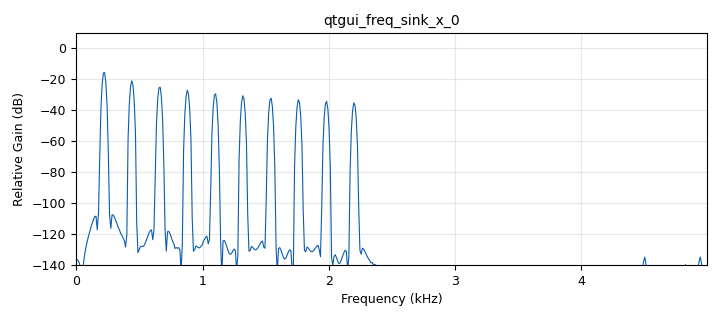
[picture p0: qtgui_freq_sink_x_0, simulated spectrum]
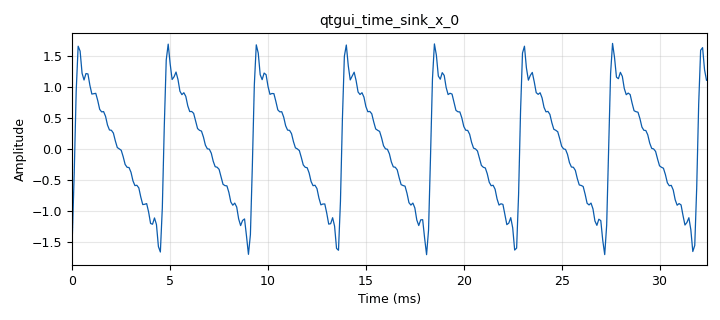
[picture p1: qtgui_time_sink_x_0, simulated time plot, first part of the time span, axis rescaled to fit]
<?xml version='1.0' encoding='utf-8'?>
<?grc format='1' created='3.7.10'?>
<flow_graph>
<block>
<key>options</key>
<param><key>id</key><value>top_block</value></param>
<param><key>generate_options</key><value>qt_gui</value></param>
</block>
<block>
<key>variable</key>
<param><key>id</key><value>amp</value></param>
<param><key>value</key><value>1</value></param>
</block>
<block>
<key>variable</key>
<param><key>id</key><value>freq</value></param>
<param><key>value</key><value>220</value></param>
</block>
<block>
<key>variable</key>
<param><key>id</key><value>offset</value></param>
<param><key>value</key><value>1*samp_rate</value></param>
</block>
<block>
<key>variable</key>
<param><key>id</key><value>samp_rate</value></param>
<param><key>value</key><value>10e3</value></param>
</block>
<block>
<key>analog_sig_source_x</key>
<param><key>id</key><value>analog_sig_source_x_0</value></param>
<param><key>amp</key><value>-amp</value></param>
<param><key>freq</key><value>freq</value></param>
<param><key>offset</key><value>0</value></param>
<param><key>type</key><value>float</value></param>
<param><key>samp_rate</key><value>samp_rate</value></param>
<param><key>waveform</key><value>analog.GR_SIN_WAVE</value></param>
</block>
<block>
<key>analog_sig_source_x</key>
<param><key>id</key><value>analog_sig_source_x_0_0</value></param>
<param><key>amp</key><value>amp/2.0</value></param>
<param><key>freq</key><value>2*freq</value></param>
<param><key>offset</key><value>0</value></param>
<param><key>type</key><value>float</value></param>
<param><key>samp_rate</key><value>samp_rate</value></param>
<param><key>waveform</key><value>analog.GR_SIN_WAVE</value></param>
</block>
<block>
<key>analog_sig_source_x</key>
<param><key>id</key><value>analog_sig_source_x_0_0_0</value></param>
<param><key>amp</key><value>amp/4.0</value></param>
<param><key>freq</key><value>4*freq</value></param>
<param><key>offset</key><value>0</value></param>
<param><key>type</key><value>float</value></param>
<param><key>samp_rate</key><value>samp_rate</value></param>
<param><key>waveform</key><value>analog.GR_SIN_WAVE</value></param>
</block>
<block>
<key>analog_sig_source_x</key>
<param><key>id</key><value>analog_sig_source_x_0_0_0_0</value></param>
<param><key>amp</key><value>-amp/7.0</value></param>
<param><key>freq</key><value>7*freq</value></param>
<param><key>offset</key><value>0</value></param>
<param><key>type</key><value>float</value></param>
<param><key>samp_rate</key><value>samp_rate</value></param>
<param><key>waveform</key><value>analog.GR_SIN_WAVE</value></param>
</block>
<block>
<key>analog_sig_source_x</key>
<param><key>id</key><value>analog_sig_source_x_0_0_1</value></param>
<param><key>amp</key><value>amp/6.0</value></param>
<param><key>freq</key><value>freq*6</value></param>
<param><key>offset</key><value>0</value></param>
<param><key>type</key><value>float</value></param>
<param><key>samp_rate</key><value>samp_rate</value></param>
<param><key>waveform</key><value>analog.GR_SIN_WAVE</value></param>
</block>
<block>
<key>analog_sig_source_x</key>
<param><key>id</key><value>analog_sig_source_x_0_0_1_0</value></param>
<param><key>amp</key><value>-amp/9.0</value></param>
<param><key>freq</key><value>freq*9</value></param>
<param><key>offset</key><value>0</value></param>
<param><key>type</key><value>float</value></param>
<param><key>samp_rate</key><value>samp_rate</value></param>
<param><key>waveform</key><value>analog.GR_SIN_WAVE</value></param>
</block>
<block>
<key>analog_sig_source_x</key>
<param><key>id</key><value>analog_sig_source_x_0_0_1_0_0</value></param>
<param><key>amp</key><value>amp/10.0</value></param>
<param><key>freq</key><value>freq*10</value></param>
<param><key>offset</key><value>0</value></param>
<param><key>type</key><value>float</value></param>
<param><key>samp_rate</key><value>samp_rate</value></param>
<param><key>waveform</key><value>analog.GR_SIN_WAVE</value></param>
</block>
<block>
<key>analog_sig_source_x</key>
<param><key>id</key><value>analog_sig_source_x_0_1</value></param>
<param><key>amp</key><value>-amp/3.0</value></param>
<param><key>freq</key><value>3*freq</value></param>
<param><key>offset</key><value>0</value></param>
<param><key>type</key><value>float</value></param>
<param><key>samp_rate</key><value>samp_rate</value></param>
<param><key>waveform</key><value>analog.GR_SIN_WAVE</value></param>
</block>
<block>
<key>analog_sig_source_x</key>
<param><key>id</key><value>analog_sig_source_x_0_2</value></param>
<param><key>amp</key><value>-amp/5.0</value></param>
<param><key>freq</key><value>freq*5</value></param>
<param><key>offset</key><value>0</value></param>
<param><key>type</key><value>float</value></param>
<param><key>samp_rate</key><value>samp_rate</value></param>
<param><key>waveform</key><value>analog.GR_SIN_WAVE</value></param>
</block>
<block>
<key>analog_sig_source_x</key>
<param><key>id</key><value>analog_sig_source_x_0_2_0</value></param>
<param><key>amp</key><value>amp/8.0</value></param>
<param><key>freq</key><value>freq*8</value></param>
<param><key>offset</key><value>0</value></param>
<param><key>type</key><value>float</value></param>
<param><key>samp_rate</key><value>samp_rate</value></param>
<param><key>waveform</key><value>analog.GR_SIN_WAVE</value></param>
</block>
<block>
<key>blocks_add_xx</key>
<param><key>id</key><value>blocks_add_xx_0</value></param>
<param><key>type</key><value>float</value></param>
<param><key>num_inputs</key><value>10</value></param>
</block>
<block>
<key>blocks_delay</key>
<param><key>id</key><value>blocks_delay_0</value></param>
<param><key>delay</key><value>0</value></param>
<param><key>type</key><value>float</value></param>
</block>
<block>
<key>blocks_delay</key>
<param><key>id</key><value>blocks_delay_0_0</value></param>
<param><key>delay</key><value>int(offset)</value></param>
<param><key>type</key><value>float</value></param>
</block>
<block>
<key>blocks_delay</key>
<param><key>id</key><value>blocks_delay_0_0_0</value></param>
<param><key>delay</key><value>int(offset*5)</value></param>
<param><key>type</key><value>float</value></param>
</block>
<block>
<key>blocks_delay</key>
<param><key>id</key><value>blocks_delay_0_0_1</value></param>
<param><key>delay</key><value>int(offset*4)</value></param>
<param><key>type</key><value>float</value></param>
</block>
<block>
<key>blocks_delay</key>
<param><key>id</key><value>blocks_delay_0_0_2</value></param>
<param><key>delay</key><value>int(offset*3)</value></param>
<param><key>type</key><value>float</value></param>
</block>
<block>
<key>blocks_delay</key>
<param><key>id</key><value>blocks_delay_0_1</value></param>
<param><key>delay</key><value>int(offset*7)</value></param>
<param><key>type</key><value>float</value></param>
</block>
<block>
<key>blocks_delay</key>
<param><key>id</key><value>blocks_delay_0_1_0</value></param>
<param><key>delay</key><value>int(offset*9)</value></param>
<param><key>type</key><value>float</value></param>
</block>
<block>
<key>blocks_delay</key>
<param><key>id</key><value>blocks_delay_0_2</value></param>
<param><key>delay</key><value>int(offset*6)</value></param>
<param><key>type</key><value>float</value></param>
</block>
<block>
<key>blocks_delay</key>
<param><key>id</key><value>blocks_delay_0_2_0</value></param>
<param><key>delay</key><value>int(offset*8)</value></param>
<param><key>type</key><value>float</value></param>
</block>
<block>
<key>blocks_delay</key>
<param><key>id</key><value>blocks_delay_0_3</value></param>
<param><key>delay</key><value>int(offset*2)</value></param>
<param><key>type</key><value>float</value></param>
</block>
<block>
<key>blocks_throttle</key>
<param><key>id</key><value>blocks_throttle_0</value></param>
<param><key>samples_per_second</key><value>samp_rate</value></param>
<param><key>type</key><value>float</value></param>
</block>
<block>
<key>qtgui_freq_sink_x</key>
<param><key>id</key><value>qtgui_freq_sink_x_0</value></param>
<param><key>bw</key><value>samp_rate</value></param>
<param><key>fc</key><value>0</value></param>
<param><key>fftsize</key><value>1024</value></param>
<param><key>showports</key><value>True</value></param>
<param><key>freqhalf</key><value>False</value></param>
<param><key>type</key><value>float</value></param>
<param><key>wintype</key><value>firdes.WIN_BLACKMAN_hARRIS</value></param>
</block>
<block>
<key>qtgui_time_sink_x</key>
<param><key>id</key><value>qtgui_time_sink_x_0</value></param>
<param><key>ctrlpanel</key><value>True</value></param>
<param><key>color1</key><value>"blue"</value></param>
<param><key>label1</key><value></value></param>
<param><key>size</key><value>1024</value></param>
<param><key>srate</key><value>samp_rate</value></param>
<param><key>type</key><value>float</value></param>
</block>
<connection><source_block_id>analog_sig_source_x_0</source_block_id><sink_block_id>blocks_delay_0</sink_block_id><source_key>0</source_key><sink_key>0</sink_key></connection>
<connection><source_block_id>analog_sig_source_x_0_0</source_block_id><sink_block_id>blocks_delay_0_0</sink_block_id><source_key>0</source_key><sink_key>0</sink_key></connection>
<connection><source_block_id>analog_sig_source_x_0_0_0</source_block_id><sink_block_id>blocks_delay_0_0_2</sink_block_id><source_key>0</source_key><sink_key>0</sink_key></connection>
<connection><source_block_id>analog_sig_source_x_0_0_0_0</source_block_id><sink_block_id>blocks_delay_0_2</sink_block_id><source_key>0</source_key><sink_key>0</sink_key></connection>
<connection><source_block_id>analog_sig_source_x_0_0_1</source_block_id><sink_block_id>blocks_delay_0_0_0</sink_block_id><source_key>0</source_key><sink_key>0</sink_key></connection>
<connection><source_block_id>analog_sig_source_x_0_0_1_0</source_block_id><sink_block_id>blocks_delay_0_2_0</sink_block_id><source_key>0</source_key><sink_key>0</sink_key></connection>
<connection><source_block_id>analog_sig_source_x_0_0_1_0_0</source_block_id><sink_block_id>blocks_delay_0_1_0</sink_block_id><source_key>0</source_key><sink_key>0</sink_key></connection>
<connection><source_block_id>analog_sig_source_x_0_1</source_block_id><sink_block_id>blocks_delay_0_3</sink_block_id><source_key>0</source_key><sink_key>0</sink_key></connection>
<connection><source_block_id>analog_sig_source_x_0_2</source_block_id><sink_block_id>blocks_delay_0_0_1</sink_block_id><source_key>0</source_key><sink_key>0</sink_key></connection>
<connection><source_block_id>analog_sig_source_x_0_2_0</source_block_id><sink_block_id>blocks_delay_0_1</sink_block_id><source_key>0</source_key><sink_key>0</sink_key></connection>
<connection><source_block_id>blocks_add_xx_0</source_block_id><sink_block_id>blocks_throttle_0</sink_block_id><source_key>0</source_key><sink_key>0</sink_key></connection>
<connection><source_block_id>blocks_delay_0</source_block_id><sink_block_id>blocks_add_xx_0</sink_block_id><source_key>0</source_key><sink_key>0</sink_key></connection>
<connection><source_block_id>blocks_delay_0_0</source_block_id><sink_block_id>blocks_add_xx_0</sink_block_id><source_key>0</source_key><sink_key>1</sink_key></connection>
<connection><source_block_id>blocks_delay_0_0_0</source_block_id><sink_block_id>blocks_add_xx_0</sink_block_id><source_key>0</source_key><sink_key>5</sink_key></connection>
<connection><source_block_id>blocks_delay_0_0_1</source_block_id><sink_block_id>blocks_add_xx_0</sink_block_id><source_key>0</source_key><sink_key>4</sink_key></connection>
<connection><source_block_id>blocks_delay_0_0_2</source_block_id><sink_block_id>blocks_add_xx_0</sink_block_id><source_key>0</source_key><sink_key>3</sink_key></connection>
<connection><source_block_id>blocks_delay_0_1</source_block_id><sink_block_id>blocks_add_xx_0</sink_block_id><source_key>0</source_key><sink_key>7</sink_key></connection>
<connection><source_block_id>blocks_delay_0_1_0</source_block_id><sink_block_id>blocks_add_xx_0</sink_block_id><source_key>0</source_key><sink_key>9</sink_key></connection>
<connection><source_block_id>blocks_delay_0_2</source_block_id><sink_block_id>blocks_add_xx_0</sink_block_id><source_key>0</source_key><sink_key>6</sink_key></connection>
<connection><source_block_id>blocks_delay_0_2_0</source_block_id><sink_block_id>blocks_add_xx_0</sink_block_id><source_key>0</source_key><sink_key>8</sink_key></connection>
<connection><source_block_id>blocks_delay_0_3</source_block_id><sink_block_id>blocks_add_xx_0</sink_block_id><source_key>0</source_key><sink_key>2</sink_key></connection>
<connection><source_block_id>blocks_throttle_0</source_block_id><sink_block_id>qtgui_freq_sink_x_0</sink_block_id><source_key>0</source_key><sink_key>0</sink_key></connection>
<connection><source_block_id>blocks_throttle_0</source_block_id><sink_block_id>qtgui_time_sink_x_0</sink_block_id><source_key>0</source_key><sink_key>0</sink_key></connection>
</flow_graph>
